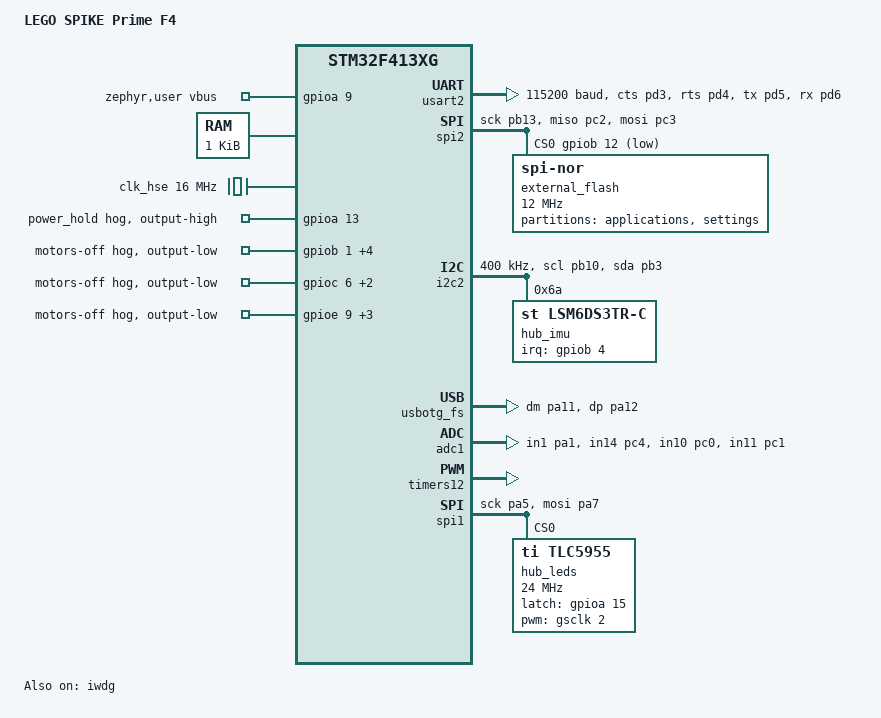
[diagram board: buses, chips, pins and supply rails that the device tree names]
// SPDX-License-Identifier: Apache-2.0

/dts-v1/;
#include <st/f4/stm32f413Xg.dtsi>
#include <zephyr/dt-bindings/input/input-event-codes.h>
#include <zephyr/dt-bindings/adc/adc.h>
#include <zephyr/dt-bindings/pwm/pwm.h>
#include <zephyr/dt-bindings/i2c/i2c.h>
#include <st/f4/stm32f413v(g-h)tx-pinctrl.dtsi>

/ {
	model = "LEGO SPIKE Prime F4";
	compatible = "lego,spike-prime-f4";
	aliases {
		watchdog0 = &iwdg;
	};
	zephyr,user {
		vbus-gpios = <&gpioa 9 GPIO_ACTIVE_HIGH>;
	};

	chosen {
		zephyr,sram = &sram0;
		zephyr,flash = &flash0;
		zephyr,code-partition = &firmware_partition;
		zephyr,console = &cdc_acm_uart;
		zephyr,shell-uart = &cdc_acm_uart;
		zephyr,settings-partition = &settings_partition;
		zephyr,bt-hci = &bt_hci;
	};

	bt_slow_clock: bt-slow-clock {
		compatible = "pwm-clock";
		#clock-cells = <1>;
		/* 96 MHz / 2930 = 32764.5 Hz, matching the Pybricks F4 setup. */
		pwms = <&bt_pwm 4 30521 PWM_POLARITY_NORMAL>;
		status = "disabled";
	};
};

&usart2 {
	current-speed = <115200>;
	hw-flow-control;
	pinctrl-0 = <&usart2_cts_pd3 &usart2_rts_pd4 &usart2_tx_pd5 &usart2_rx_pd6>;
	pinctrl-names = "default";
	bt_hci: bt-hci {
		compatible = "zephyr,bt-hci-uart";
		reset-gpios = <&gpioa 2 GPIO_ACTIVE_LOW>;
		reset-assert-duration-ms = <5>;
		status = "disabled";
	};
};

&usart2_cts_pd3 {
	/delete-property/ bias-pull-up;
	bias-disable;
};

&usart2_rx_pd6 { bias-pull-up; };

&timers8 {
	bt_pwm: pwm {
		pinctrl-0 = <&tim8_ch4_pc9>;
		pinctrl-names = "default";
		status = "disabled";
	};
};

&spi2 {
	status = "okay";
	pinctrl-0 = <&spi2_sck_pb13 &spi2_miso_pc2 &spi2_mosi_pc3>;
	pinctrl-names = "default";
	cs-gpios = <&gpiob 12 GPIO_ACTIVE_LOW>;

	external_flash: flash@0 {
		compatible = "jedec,spi-nor";
		reg = <0>;
		spi-max-frequency = <12000000>;
		/* SFDP selects 4-byte address mode, as used by the LEGO loader. */
		partitions {
			compatible = "fixed-partitions";
			#address-cells = <1>;
			#size-cells = <1>;
			/* Remaining part of the same Pybricks user-storage reservation.
			 * No application filesystem may format foreign contents. */
			apps_partition: partition@80000 {
				label = "applications";
				reg = <0x80000 0x38000>;
			};
			/* Tail of Pybricks' 512..768 KiB user-storage region. */
			settings_partition: partition@b8000 {
				label = "settings";
				reg = <0xb8000 0x8000>;
			};
		};
	};
};

&i2c2 {
	status = "okay";
	pinctrl-0 = <&i2c2_scl_pb10 &i2c2_sda_pb3>;
	pinctrl-names = "default";
	clock-frequency = <I2C_BITRATE_FAST>;
	scl-gpios = <&gpiob 10 (GPIO_OPEN_DRAIN | GPIO_ACTIVE_HIGH)>;
	sda-gpios = <&gpiob 3 (GPIO_OPEN_DRAIN | GPIO_ACTIVE_HIGH)>;

	hub_imu: imu@6a {
		compatible = "st,lsm6ds3tr-c";
		reg = <0x6a>;
		irq-gpios = <&gpiob 4 GPIO_ACTIVE_HIGH>;
		/* Pinned Pybricks Prime F4 mounting orientation. */
		axis-signs = <(-1) 1 (-1)>;
	};
};

&i2c2_scl_pb10 {
	/delete-property/ bias-pull-up;
	bias-disable;
	slew-rate = "very-high-speed";
};

&i2c2_sda_pb3 {
	/delete-property/ bias-pull-up;
	bias-disable;
	slew-rate = "very-high-speed";
};

&clk_hse {
	clock-frequency = <DT_FREQ_M(16)>;
	status = "okay";
};

&iwdg { status = "okay"; };

&pll {
	div-m = <8>;
	mul-n = <96>;
	div-p = <2>;
	div-q = <4>;
	clocks = <&clk_hse>;
	status = "okay";
};

&rcc {
	clocks = <&pll>;
	clock-frequency = <DT_FREQ_M(96)>;
	ahb-prescaler = <1>;
	apb1-prescaler = <2>;
	apb2-prescaler = <1>;
};

&gpioa {
	power_hold: power-hold {
		gpio-hog;
		gpios = <13 GPIO_ACTIVE_HIGH>;
		output-high;
	};
};

/* Both H-bridge inputs low is coast in the reference Pybricks driver. */
&gpiob {
	motors-off {
		gpio-hog;
		gpios = <1 GPIO_ACTIVE_HIGH>, <6 GPIO_ACTIVE_HIGH>,
			<7 GPIO_ACTIVE_HIGH>, <8 GPIO_ACTIVE_HIGH>, <9 GPIO_ACTIVE_HIGH>;
		output-low;
	};
};

&gpioc {
	motors-off {
		gpio-hog;
		gpios = <6 GPIO_ACTIVE_HIGH>, <7 GPIO_ACTIVE_HIGH>, <8 GPIO_ACTIVE_HIGH>;
		output-low;
	};
};

&gpioe {
	motors-off {
		gpio-hog;
		gpios = <9 GPIO_ACTIVE_HIGH>, <11 GPIO_ACTIVE_HIGH>,
			<13 GPIO_ACTIVE_HIGH>, <14 GPIO_ACTIVE_HIGH>;
		output-low;
	};
};

zephyr_udc0: &usbotg_fs {
	pinctrl-0 = <&usb_otg_fs_dm_pa11 &usb_otg_fs_dp_pa12>;
	pinctrl-names = "default";
	status = "okay";

	cdc_acm_uart: cdc-acm-uart {
		compatible = "zephyr,cdc-acm-uart";
	};
};

&flash0 {
	partitions {
		compatible = "fixed-partitions";
		#address-cells = <1>;
		#size-cells = <1>;

		factory_boot_partition: partition@0 {
			label = "factory-dfu";
			reg = <0 DT_SIZE_K(32)>;
			read-only;
		};

		mboot_partition: partition@8000 {
			label = "mboot";
			reg = <0x8000 DT_SIZE_K(32)>;
			read-only;
		};

		firmware_partition: partition@10000 {
			label = "firmware";
			reg = <0x10000 DT_SIZE_K(960)>;
		};
	};
};

#include "buttons.dtsi"
#include "battery.dtsi"
#include "ports.dtsi"

&adc1 {
	pinctrl-0 = <&adc1_in1_pa1 &adc1_in14_pc4 &adc1_in10_pc0 &adc1_in11_pc1>;
	pinctrl-names = "default";
	st,adc-prescaler = <4>;
	status = "okay";
};

&timers12 {
	status = "okay";
	gsclk: pwm {
		pinctrl-0 = <&tim12_ch2_pb15>;
		pinctrl-names = "default";
		status = "okay";
	};
};

&spi1 {
	pinctrl-0 = <&spi1_sck_pa5 &spi1_mosi_pa7>;
	pinctrl-names = "default";
	status = "okay";

	hub_leds: leds@0 {
		compatible = "ti,tlc5955";
		reg = <0>;
		spi-max-frequency = <24000000>;
		latch-gpios = <&gpioa 15 GPIO_ACTIVE_HIGH>;
		pwms = <&gsclk 2 104 PWM_POLARITY_NORMAL>;
		/* MODE: full duty disables charging until a charger driver owns it. */
		initial-full-channels = <14>;
	};
};

#include "lights.dtsi"
#include "sound.dtsi"

/* Keep the reboot request above the RAM used by the existing bootloaders. */
&sram0 {
	reg = <0x20000000 DT_SIZE_K(319)>;
};

/ {
	boot_request: memory@2004fc00 {
		compatible = "zephyr,memory-region";
		reg = <0x2004fc00 DT_SIZE_K(1)>;
		zephyr,memory-region = "BOOT_REQUEST";
	};
};
